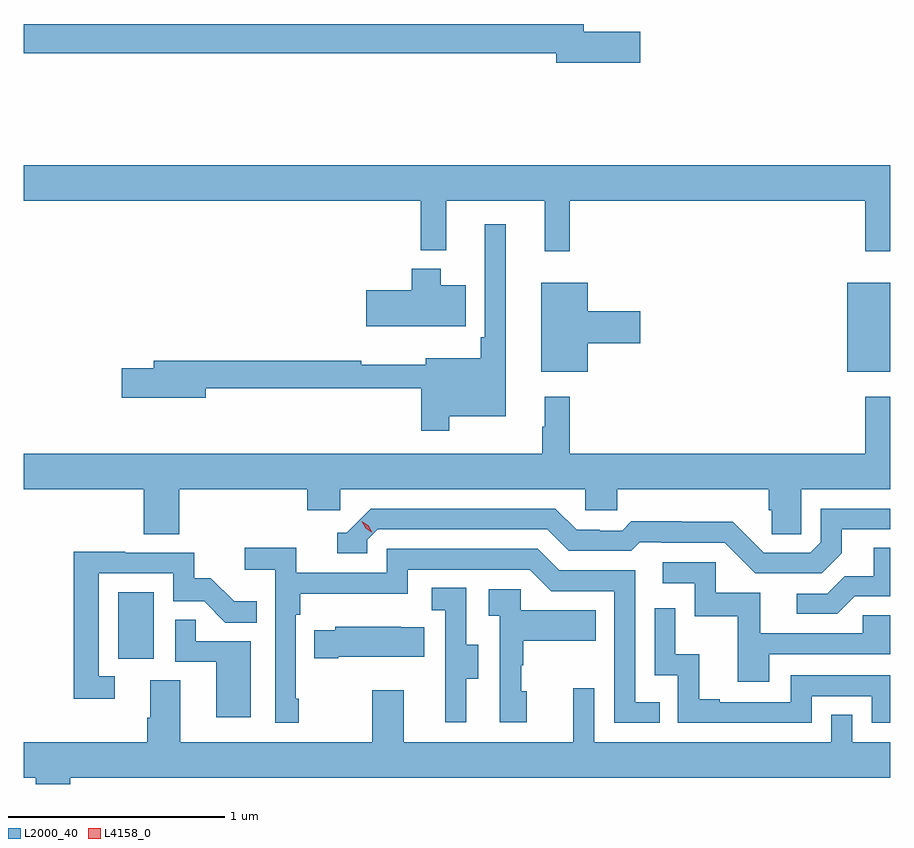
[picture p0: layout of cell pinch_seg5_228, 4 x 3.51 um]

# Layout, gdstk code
import gdstk
lib = gdstk.Library(unit=1e-6, precision=1e-09)
def R(c, l, rs):  # rectangles x0, y0, x1, y1
    for r in rs: c.add(gdstk.rectangle(r[:2], r[2:], *l))
def P(c, l, *ps):  # polygons
    for p in ps: c.add(gdstk.Polygon(p, *l))
L2000_40 = (2000, 40)
L4158_0 = (4158, 0)

pinch_seg5_228 = lib.new_cell('pinch_seg5_228')
R(pinch_seg5_228, L2000_40, [(975.398,899.934,975.562,900.241), (978.764,901.259,978.962,901.669)])
P(pinch_seg5_228, L2000_40, [(977.809,902.828),(977.548,902.828),(977.548,902.864),(974.962,902.864),(974.962,902.728),(977.42,902.728),(977.42,902.686),(977.809,902.686)],
  [(977.483,902.048),(978.847,902.048),(978.847,901.815),(978.962,901.815),(978.962,902.212),(974.962,902.212),(974.962,902.048),(976.795,902.048),(976.795,901.82),(976.913,901.82),(976.913,902.048),(977.366,902.048),(977.366,901.815),(977.483,901.815)],
  [(976.927,901.052),(977.188,901.052),(977.188,901.939),(977.091,901.939),(977.091,901.417),(977.071,901.417),(977.071,901.321),(976.817,901.321),(976.817,901.291),(976.521,901.291),(976.521,901.31),(975.563,901.31),(975.563,901.274),(975.414,901.274),(975.414,901.139),(975.802,901.139),(975.802,901.182),(976.798,901.182),(976.798,900.987),(976.927,900.987)],
  [(977.002,901.657),(976.888,901.657),(976.888,901.735),(976.754,901.735),(976.754,901.635),(976.542,901.635),(976.542,901.469),(977.002,901.469)],
  [(977.566,901.391),(977.809,901.391),(977.809,901.538),(977.566,901.538),(977.566,901.669),(977.351,901.669),(977.351,901.259),(977.566,901.259)],
  [(975.68,900.716),(976.271,900.716),(976.271,900.618),(976.422,900.618),(976.422,900.716),(977.553,900.716),(977.553,900.618),(977.703,900.618),(977.703,900.716),(978.401,900.716),(978.401,900.618),(978.415,900.618),(978.415,900.508),(978.552,900.508),(978.552,900.716),(978.962,900.716),(978.962,901.144),(978.847,901.144),(978.847,900.88),(977.483,900.88),(977.483,901.144),(977.366,901.144),(977.366,901.004),(977.355,901.004),(977.355,900.88),(974.962,900.88),(974.962,900.716),(975.515,900.716),(975.515,900.508),(975.68,900.508)],
  [(978.739,900.421),(978.739,900.531),(978.962,900.531),(978.962,900.627),(978.642,900.627),(978.642,900.471),(978.594,900.423),(978.378,900.423),(978.236,900.565),(978,900.565),(978,900.568),(977.767,900.568),(977.725,900.525),(977.622,900.525),(977.622,900.528),(977.515,900.528),(977.416,900.627),(976.563,900.627),(976.452,900.516),(976.409,900.516),(976.409,900.42),(976.548,900.42),(976.548,900.483),(976.596,900.531),(977.379,900.531),(977.478,900.432),(977.767,900.432),(977.806,900.471),(977.905,900.471),(977.905,900.468),(978.198,900.468),(978.339,900.327),(978.645,900.327)],
  [(978.799,900.222),(978.962,900.222),(978.962,900.446),(978.887,900.446),(978.887,900.314),(978.752,900.314),(978.672,900.234),(978.531,900.234),(978.531,900.141),(978.718,900.141)],
  [(976.231,899.749),(976.218,899.749),(976.218,900.137),(976.238,900.137),(976.238,900.233),(976.734,900.233),(976.734,900.345),(977.298,900.345),(977.397,900.246),(977.688,900.246),(977.688,899.637),(977.897,899.637),(977.897,899.733),(977.784,899.733),(977.784,900.342),(977.434,900.342),(977.335,900.441),(976.638,900.441),(976.638,900.33),(976.22,900.33),(976.22,900.446),(975.981,900.446),(975.981,900.344),(976.122,900.344),(976.122,899.637),(976.231,899.637)],
  [(975.382,899.853),(975.309,899.853),(975.309,900.327),(975.651,900.327),(975.651,900.198),(975.795,900.198),(975.893,900.1),(976.037,900.1),(976.037,900.199),(975.933,900.199),(975.826,900.306),(975.75,900.306),(975.75,900.423),(975.431,900.423),(975.431,900.428),(975.193,900.428),(975.193,899.748),(975.382,899.748)],
  [(978.403,899.955),(978.962,899.955),(978.962,900.135),(978.835,900.135),(978.835,900.051),(978.361,900.051),(978.361,900.237),(978.156,900.237),(978.156,900.378),(977.913,900.378),(977.913,900.282),(978.06,900.282),(978.06,900.129),(978.259,900.129),(978.259,899.826),(978.403,899.826)],
  [(977.005,899.842),(977.059,899.842),(977.059,899.997),(977.004,899.997),(977.004,900.26),(976.845,900.26),(976.845,900.157),(976.908,900.157),(976.908,899.853),(976.907,899.853),(976.907,899.64),(977.005,899.64)],
  [(977.284,899.784),(977.259,899.784),(977.259,899.903),(977.269,899.903),(977.269,900.017),(977.603,900.017),(977.603,900.157),(977.256,900.157),(977.256,900.255),(977.109,900.255),(977.109,900.131),(977.16,900.131),(977.16,899.64),(977.284,899.64)],
  [(978.6,899.76),(978.876,899.76),(978.876,899.637),(978.962,899.637),(978.962,899.856),(978.504,899.856),(978.504,899.733),(978.175,899.733),(978.175,899.746),(978.08,899.746),(978.08,899.954),(977.97,899.954),(977.97,900.166),(977.874,900.166),(977.874,899.856),(977.982,899.856),(977.982,899.637),(978.6,899.637)],
  [(976.009,900.015),(975.755,900.015),(975.755,900.113),(975.66,900.113),(975.66,899.919),(975.851,899.919),(975.851,899.664),(976.009,899.664)],
  [(976.414,899.942),(976.811,899.942),(976.811,900.079),(976.703,900.079),(976.703,900.082),(976.401,900.082),(976.401,900.064),(976.303,900.064),(976.303,899.935),(976.414,899.935)],
  [(978.69,899.675),(978.69,899.548),(977.595,899.548),(977.595,899.797),(977.498,899.797),(977.498,899.548),(976.717,899.548),(976.717,899.788),(976.57,899.788),(976.57,899.548),(975.685,899.548),(975.685,899.834),(975.545,899.834),(975.545,899.66),(975.533,899.66),(975.533,899.548),(974.962,899.548),(974.962,899.384),(975.016,899.384),(975.016,899.355),(975.176,899.355),(975.176,899.384),(978.962,899.384),(978.962,899.548),(978.786,899.548),(978.786,899.675)])
P(pinch_seg5_228, L4158_0, [(976.571,900.516),(976.54,900.535),(976.523,900.567),(976.523,900.568),(976.523,900.568),(976.554,900.548),(976.571,900.516),(976.571,900.516)])

lib.write_gds('pinch_seg5_228.gds')
